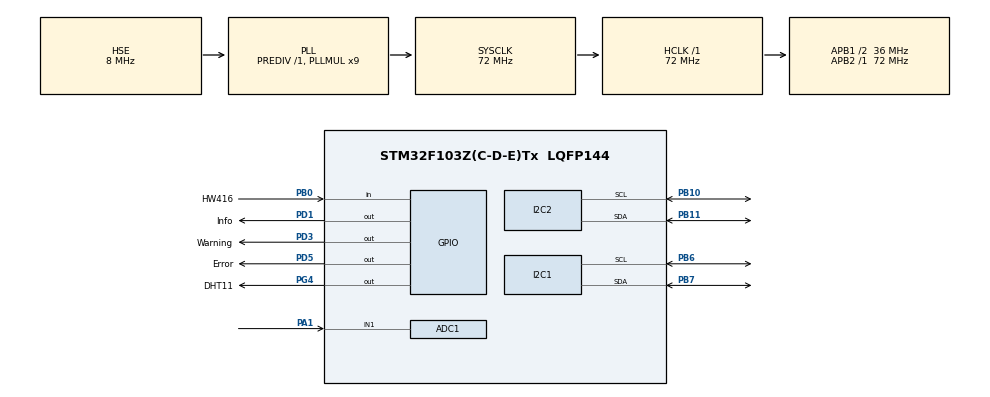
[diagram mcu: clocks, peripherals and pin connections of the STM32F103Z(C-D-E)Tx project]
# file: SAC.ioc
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ADC1.Channel-0\#ChannelRegularConversion=ADC_CHANNEL_1
ADC1.ContinuousConvMode=ENABLE
ADC1.NbrOfConversionFlag=1
ADC1.Rank-0\#ChannelRegularConversion=1
ADC1.SamplingTime-0\#ChannelRegularConversion=ADC_SAMPLETIME_1CYCLE_5
ADC1.master=1
Mcu.Family=STM32F1
Mcu.Name=STM32F103Z(C-D-E)Tx
Mcu.Package=LQFP144
NVIC.PriorityGroup=NVIC_PRIORITYGROUP_4
OSC_IN.Mode=HSE-External-Oscillator
OSC_IN.Signal=RCC_OSC_IN
OSC_OUT.Mode=HSE-External-Oscillator
OSC_OUT.Signal=RCC_OSC_OUT
PA1.Signal=ADCx_IN1
PA13.Mode=Serial_Wire
PA13.Signal=SYS_JTMS-SWDIO
PA14.Mode=Serial_Wire
PA14.Signal=SYS_JTCK-SWCLK
PB0.GPIO_Label=HW416
PB0.GPIO_PuPd=GPIO_PULLUP
PB0.Signal=GPIO_Input
PB10.Mode=I2C
PB10.Signal=I2C2_SCL
PB11.Mode=I2C
PB11.Signal=I2C2_SDA
PB6.Mode=I2C
PB6.Signal=I2C1_SCL
PB7.Mode=I2C
PB7.Signal=I2C1_SDA
PC14-OSC32_IN.Mode=LSE-External-Oscillator
PC14-OSC32_IN.Signal=RCC_OSC32_IN
PC15-OSC32_OUT.Mode=LSE-External-Oscillator
PC15-OSC32_OUT.Signal=RCC_OSC32_OUT
PD1.GPIO_Label=Info
PD1.GPIO_ModeDefaultOutputPP=GPIO_MODE_OUTPUT_PP
PD1.GPIO_PuPd=GPIO_NOPULL
PD1.GPIO_Speed=GPIO_SPEED_FREQ_HIGH
PD1.PinState=GPIO_PIN_RESET
PD1.Signal=GPIO_Output
PD3.GPIO_Label=Warning
PD3.GPIO_ModeDefaultOutputPP=GPIO_MODE_OUTPUT_PP
PD3.GPIO_PuPd=GPIO_NOPULL
PD3.GPIO_Speed=GPIO_SPEED_FREQ_HIGH
PD3.Signal=GPIO_Output
PD5.GPIO_Label=Error
PD5.GPIO_ModeDefaultOutputPP=GPIO_MODE_OUTPUT_PP
PD5.GPIO_PuPd=GPIO_NOPULL
PD5.GPIO_Speed=GPIO_SPEED_FREQ_HIGH
PD5.Signal=GPIO_Output
PG4.GPIO_Label=DHT11
PG4.Signal=GPIO_Output
ProjectManager.HeapSize=0x200
ProjectManager.StackSize=0x400
ProjectManager.TargetToolchain=MDK-ARM V5.32
RCC.ADCPresc=RCC_ADCPCLK2_DIV6
RCC.AHBFreq_Value=72000000
RCC.APB1CLKDivider=RCC_HCLK_DIV2
RCC.APB1Freq_Value=36000000
RCC.APB1TimFreq_Value=72000000
RCC.APB2Freq_Value=72000000
RCC.APB2TimFreq_Value=72000000
RCC.HCLKFreq_Value=72000000
RCC.PLLMUL=RCC_PLL_MUL9
RCC.PLLSourceVirtual=RCC_PLLSOURCE_HSE
RCC.RTCClockSelection=RCC_RTCCLKSOURCE_LSE
RCC.SYSCLKFreq_VALUE=72000000
RCC.SYSCLKSource=RCC_SYSCLKSOURCE_PLLCLK
RCC.USBFreq_Value=72000000
SH.ADCx_IN1.0=ADC1_IN1,IN1
VP_RTC_VS_RTC_Activate.Mode=RTC_Enabled
board=custom

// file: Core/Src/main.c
/* USER CODE BEGIN Header */
/**
 ******************************************************************************
 * @file           : main.c
 * @brief          : Main program body
 ******************************************************************************
 * @attention
 *
 * Copyright (c) 2025 STMicroelectronics.
 * All rights reserved.
 *
 * This software is licensed under terms that can be found in the LICENSE file
 * in the root directory of this software component.
 * If no LICENSE file comes with this software, it is provided AS-IS.
 *
 ******************************************************************************
 */
/* USER CODE END Header */
#include "main.h"
#include "adc.h"
#include "i2c.h"
#include "rtc.h"
#include "gpio.h"

/* USER CODE BEGIN Includes */
#include "oled.h"
#include "DHT11.h"
#include "stdio.h"
#include "string.h"
#include "yy_rtc.h"
#include "Alarm.h"
/* USER CODE END Includes */

void SystemClock_Config(void);

int main(void)
{

  /* MCU Configuration--------------------------------------------------------*/

  /* Reset of all peripherals, Initializes the Flash interface and the Systick. */
  HAL_Init();

  /* Configure the system clock */
  SystemClock_Config();

  /* Initialize all configured peripherals */
  MX_GPIO_Init();
  MX_I2C1_Init();
  MX_I2C2_Init();
  MX_ADC1_Init();
  MX_RTC_Init();
  /* USER CODE BEGIN 2 */
  OLED_Init();
  OLED_CLS();

  // 初始化警报系�?
  Alarm_Init();

  // 原有变量定义
  u16 temp = 0;
  u16 humi = 0;
  uint32_t ADC_Value = 0;
  float voltage = 0;
  struct tm *now = NULL;

  char u_temp[20];
  char u_humi[20];
  char u_value[20];
  char ymd[50] = "";
  char hms[50] = "";
  char alarm_status_str[20] = "Status:Normal"; // 警报状�?�显示字符串

  int fputc(int ch, FILE *f);

  // 显示初始化界面
  OLED_ShowStr(0, 0, "Sensor Monitor", 2);
  OLED_ShowStr(0, 2, "Initializing...", 1);
  HAL_Delay(1000);
  OLED_CLS();
  /* USER CODE END 2 */

  /* Infinite loop */
  while (1)
  {

    /* USER CODE BEGIN 3 */
    // 如果检测到人体存在
    if (HAL_GPIO_ReadPin(HW416_GPIO_Port, HW416_Pin) == GPIO_PIN_RESET)
    {
      // 正常显示数据

      // 读取传感器数�?
      DHT11_Read_Data(&temp, &humi);

      // ADC读取电压�?
      HAL_GPIO_WritePin(GPIOC, GPIO_PIN_13, GPIO_PIN_RESET);
      HAL_ADC_Start(&hadc1);
      HAL_ADC_PollForConversion(&hadc1, 50);
      ADC_Value = HAL_ADC_GetValue(&hadc1);
      HAL_ADC_Stop(&hadc1);
      HAL_GPIO_WritePin(GPIOC, GPIO_PIN_13, GPIO_PIN_SET);
      voltage = ADC_Value * 3.3f / 4096.0f;

      // 使用新的多级警报系统
      Alarm_Check(voltage);

      // 获取当前警报级别用于显示
      Alarm_Level_t current_level = Alarm_GetCurrentLevel();

      // 根据警报级别更新状�?�显�?
      switch (current_level)
      {
      case ALARM_LEVEL_INFO:
        strcpy(alarm_status_str, "Status:Normal");
        break;
      case ALARM_LEVEL_WARNING:
        strcpy(alarm_status_str, "Status:Warning!");
        break;
      case ALARM_LEVEL_ERROR:
        strcpy(alarm_status_str, "Status:ERROR!!");
        break;
      default:
        strcpy(alarm_status_str, "Status:Unknown");
        break;
      }

      // 获取RTC时间
      now = YY_RTC_GetTime();

      // 格式化显示数�?
      sprintf(u_temp, "T:%.1fC", temp / 100.0f);
      sprintf(u_humi, "H:%.1f%%", humi / 100.0f);
      sprintf(u_value, "V:%.2fV", voltage);

      if (now != NULL)
      {
        sprintf(ymd, "%04d-%02d-%02d", now->tm_year + 1900, now->tm_mon + 1, now->tm_mday);
        sprintf(hms, "%02d:%02d:%02d", now->tm_hour, now->tm_min, now->tm_sec);
      }
      else
      {
        strcpy(ymd, "Date: --");
        strcpy(hms, "Time: --");
      }

      // 优化显示布局
      // OLED_CLS();
      OLED_ShowStr(0, 0, (unsigned char *)"Sensor Monitor", 1);
      OLED_ShowStr(100, 0, (unsigned char *)"ON", 1);
      OLED_ShowStr(0, 1, (unsigned char *)u_temp, 1);
      OLED_ShowStr(64, 1, (unsigned char *)u_humi, 1);
      OLED_ShowStr(0, 2, (unsigned char *)u_value, 1);
      OLED_ShowStr(25, 3, (unsigned char *)ymd, 2);
      OLED_ShowStr(32, 5, (unsigned char *)hms, 2);
      OLED_ShowStr(0, 7, (unsigned char *)alarm_status_str, 1);

      // 添加警报级别可视化指�?
      /*// char level_indicator[10];
      // sprintf(level_indicator, "Lvl:%d", current_level);
      // OLED_ShowStr(100, 5, (unsigned char *)level_indicator, 1);*/
    }
    else
    {
      // 省电模式显示屏保
      static uint32_t last_blink = 0;
      static uint8_t show_msg = 1;
      uint32_t current_time = HAL_GetTick();

      if (current_time - last_blink > 500)
      {
        show_msg = !show_msg;
        last_blink = current_time;

        OLED_CLS();
        if (show_msg)
        {
          OLED_ShowStr(25, 2.5, (unsigned char *)"Keep Happy", 2);
        }
      }

      // 传感器关闭时重置警报系统
      Alarm_Init();
    }

    HAL_Delay(1000); // 保持1秒采样间�?
  }
  /* USER CODE END 3 */
}

void SystemClock_Config(void)
{
  RCC_OscInitTypeDef RCC_OscInitStruct = {0};
  RCC_ClkInitTypeDef RCC_ClkInitStruct = {0};
  RCC_PeriphCLKInitTypeDef PeriphClkInit = {0};

  /** Initializes the RCC Oscillators according to the specified parameters
   * in the RCC_OscInitTypeDef structure.
   */
  RCC_OscInitStruct.OscillatorType = RCC_OSCILLATORTYPE_HSE | RCC_OSCILLATORTYPE_LSE;
  RCC_OscInitStruct.HSEState = RCC_HSE_ON;
  RCC_OscInitStruct.HSEPredivValue = RCC_HSE_PREDIV_DIV1;
  RCC_OscInitStruct.LSEState = RCC_LSE_ON;
  RCC_OscInitStruct.HSIState = RCC_HSI_ON;
  RCC_OscInitStruct.PLL.PLLState = RCC_PLL_ON;
  RCC_OscInitStruct.PLL.PLLSource = RCC_PLLSOURCE_HSE;
  RCC_OscInitStruct.PLL.PLLMUL = RCC_PLL_MUL9;
  if (HAL_RCC_OscConfig(&RCC_OscInitStruct) != HAL_OK)
  {
    Error_Handler();
  }

  /** Initializes the CPU, AHB and APB buses clocks
   */
  RCC_ClkInitStruct.ClockType = RCC_CLOCKTYPE_HCLK | RCC_CLOCKTYPE_SYSCLK | RCC_CLOCKTYPE_PCLK1 | RCC_CLOCKTYPE_PCLK2;
  RCC_ClkInitStruct.SYSCLKSource = RCC_SYSCLKSOURCE_PLLCLK;
  RCC_ClkInitStruct.AHBCLKDivider = RCC_SYSCLK_DIV1;
  RCC_ClkInitStruct.APB1CLKDivider = RCC_HCLK_DIV2;
  RCC_ClkInitStruct.APB2CLKDivider = RCC_HCLK_DIV1;

  if (HAL_RCC_ClockConfig(&RCC_ClkInitStruct, FLASH_LATENCY_2) != HAL_OK)
  {
    Error_Handler();
  }
  PeriphClkInit.PeriphClockSelection = RCC_PERIPHCLK_RTC | RCC_PERIPHCLK_ADC;
  PeriphClkInit.RTCClockSelection = RCC_RTCCLKSOURCE_LSE;
  PeriphClkInit.AdcClockSelection = RCC_ADCPCLK2_DIV6;
  if (HAL_RCCEx_PeriphCLKConfig(&PeriphClkInit) != HAL_OK)
  {
    Error_Handler();
  }
}

void Error_Handler(void)
{
  __disable_irq();
  while (1)
  {
  }
}
